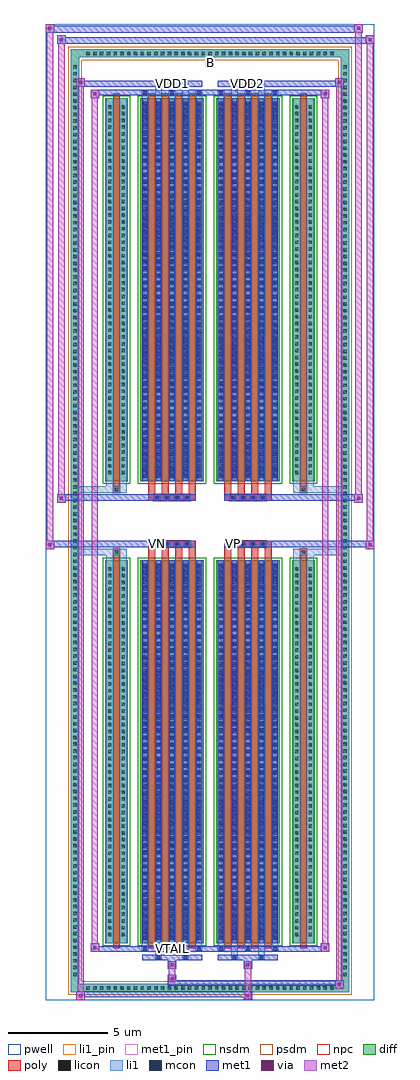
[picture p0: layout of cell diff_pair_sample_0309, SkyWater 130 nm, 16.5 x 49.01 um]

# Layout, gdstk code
import gdstk
lib = gdstk.Library(unit=1e-6, precision=5e-09)
def R(c, l, rs):  # rectangles x0, y0, x1, y1
    for r in rs: c.add(gdstk.rectangle(r[:2], r[2:], *l))
def A(c, l, x, y, w, h, nx, ny, dx, dy):  # array of equal rectangles
    R(c, l, [(x+i*dx, y+j*dy, x+i*dx+w, y+j*dy+h) for i in range(nx) for j in range(ny)])
def P(c, l, *ps):  # polygons
    for p in ps: c.add(gdstk.Polygon(p, *l))
pwell = (64, 44)
diff = (65, 20)
poly = (66, 20)
licon = (66, 44)
li1_pin = (67, 16)
li1 = (67, 20)
mcon = (67, 44)
met1_pin = (68, 16)
met1 = (68, 20)
via = (68, 44)
met2 = (69, 20)
nsdm = (93, 44)
psdm = (94, 20)
npc = (95, 20)

diff_pair_sample_0309 = lib.new_cell('diff_pair_sample_0309')
R(diff_pair_sample_0309, pwell, [(-8.25,-24.07,8.25,24.94), (-5.57,-22.26,-0.01,-0.8), (0.01,-22.26,5.57,-0.8), (-5.57,0.8,-0.01,22.26), (0.01,0.8,5.57,22.26)])
A(diff_pair_sample_0309, diff, -6.325, -23.67, 0.41, 0.41, 37, 2, 0.34, 46.93)
A(diff_pair_sample_0309, diff, -6.98, -22.985, 0.41, 0.41, 1, 135, 0, 0.34)
A(diff_pair_sample_0309, diff, 6.57, -22.985, 0.41, 0.41, 1, 135, 0, 0.34)
R(diff_pair_sample_0309, diff, [(-6.325,-23.67,6.325,-23.26), (-6.98,-22.985,-6.57,22.985), (6.57,-22.985,6.98,22.985), (-5.26,-21.215,-4.13,-1.985), (-3.49,-21.215,-0.32,-1.985), (0.32,-21.215,3.49,-1.985), (4.13,-21.215,5.26,-1.985), (-5.26,1.985,-4.13,21.215), (-3.49,1.985,-0.32,21.215), (0.32,1.985,3.49,21.215), (4.13,1.985,5.26,21.215), (-6.325,23.26,6.325,23.67)])
P(diff_pair_sample_0309, diff, [(6.98,23.67),(-6.98,23.67),(-6.98,-23.26),(-6.57,-23.26),(-6.57,23.26),(6.57,23.26),(6.57,-23.26),(-6.57,-23.26),(-6.98,-23.26),(-6.98,-23.67),(6.98,-23.67)])
A(diff_pair_sample_0309, poly, -3.1, -21.465, 0.35, 19.73, 4, 2, 0.68, 23.2)
A(diff_pair_sample_0309, poly, 0.71, -21.465, 0.35, 19.73, 4, 2, 0.68, 23.2)
A(diff_pair_sample_0309, poly, -3.1, -1.735, 0.35, 0.405, 4, 2, 0.68, 3.065)
A(diff_pair_sample_0309, poly, 0.71, -1.735, 0.35, 0.405, 4, 2, 0.68, 3.065)
A(diff_pair_sample_0309, poly, -2.82, -1.33, 0.33, 0.33, 4, 2, 0.5, 2.33)
A(diff_pair_sample_0309, poly, 0.99, -1.33, 0.33, 0.33, 4, 2, 0.5, 2.33)
R(diff_pair_sample_0309, poly, [(-4.87,-21.465,-4.52,-1.735), (4.52,-21.465,4.87,-1.735), (-4.86,-1.735,-4.53,-1.405), (-4.86,-1.735,-4.53,-1.405), (4.53,-1.735,4.86,-1.405), (4.53,-1.735,4.86,-1.405), (-3.1,-1.33,-0.71,-1), (0.71,-1.33,3.1,-1), (-3.1,1,-0.71,1.33), (0.71,1,3.1,1.33), (-4.86,1.405,-4.53,1.735), (-4.86,1.405,-4.53,1.735), (4.53,1.405,4.86,1.735), (4.53,1.405,4.86,1.735), (-4.87,1.735,-4.52,21.465), (4.52,1.735,4.87,21.465)])
A(diff_pair_sample_0309, licon, -6.205, -23.55, 0.17, 0.17, 37, 2, 0.34, 46.93)
A(diff_pair_sample_0309, licon, -6.86, -22.865, 0.17, 0.17, 1, 135, 0, 0.34)
A(diff_pair_sample_0309, licon, 6.69, -22.865, 0.17, 0.17, 1, 135, 0, 0.34)
A(diff_pair_sample_0309, licon, -5.12, -20.865, 0.17, 0.17, 1, 55, 0, 0.34)
A(diff_pair_sample_0309, licon, -4.44, -20.865, 0.17, 0.17, 1, 55, 0, 0.34)
A(diff_pair_sample_0309, licon, -3.35, -20.865, 0.17, 0.17, 5, 55, 0.68, 0.34)
A(diff_pair_sample_0309, licon, 0.46, -20.865, 0.17, 0.17, 5, 55, 0.68, 0.34)
A(diff_pair_sample_0309, licon, 4.27, -20.865, 0.17, 0.17, 1, 55, 0, 0.34)
A(diff_pair_sample_0309, licon, 4.95, -20.865, 0.17, 0.17, 1, 55, 0, 0.34)
A(diff_pair_sample_0309, licon, -2.74, -1.25, 0.17, 0.17, 4, 2, 0.5, 2.33)
A(diff_pair_sample_0309, licon, 1.07, -1.25, 0.17, 0.17, 4, 2, 0.5, 2.33)
A(diff_pair_sample_0309, licon, -5.12, 2.335, 0.17, 0.17, 1, 55, 0, 0.34)
A(diff_pair_sample_0309, licon, -4.44, 2.335, 0.17, 0.17, 1, 55, 0, 0.34)
A(diff_pair_sample_0309, licon, -3.35, 2.335, 0.17, 0.17, 5, 55, 0.68, 0.34)
A(diff_pair_sample_0309, licon, 0.46, 2.335, 0.17, 0.17, 5, 55, 0.68, 0.34)
A(diff_pair_sample_0309, licon, 4.27, 2.335, 0.17, 0.17, 1, 55, 0, 0.34)
A(diff_pair_sample_0309, licon, 4.95, 2.335, 0.17, 0.17, 1, 55, 0, 0.34)
R(diff_pair_sample_0309, licon, [(-4.78,-1.655,-4.61,-1.485), (4.61,-1.655,4.78,-1.485), (-4.78,1.485,-4.61,1.655), (4.61,1.485,4.78,1.655)])
R(diff_pair_sample_0309, li1_pin, [(-0.25,22.76,0.25,23.26)])
A(diff_pair_sample_0309, li1, -6.285, -23.63, 0.33, 0.33, 37, 2, 0.34, 46.93)
A(diff_pair_sample_0309, li1, -6.94, -22.945, 0.33, 0.33, 1, 135, 0, 0.34)
A(diff_pair_sample_0309, li1, 6.61, -22.945, 0.33, 0.33, 1, 135, 0, 0.34)
A(diff_pair_sample_0309, li1, -3.43, -21.59, 0.33, 0.375, 3, 2, 1.36, 42.805)
A(diff_pair_sample_0309, li1, -3.35, -21.59, 0.17, 0.17, 3, 2, 1.36, 43.01)
A(diff_pair_sample_0309, li1, 0.38, -21.59, 0.33, 0.375, 3, 2, 1.36, 42.805)
A(diff_pair_sample_0309, li1, 0.46, -21.59, 0.17, 0.17, 3, 2, 1.36, 43.01)
A(diff_pair_sample_0309, li1, -3.43, -21.215, 0.33, 19.23, 5, 2, 0.68, 23.2)
A(diff_pair_sample_0309, li1, 0.38, -21.215, 0.33, 19.23, 5, 2, 0.68, 23.2)
A(diff_pair_sample_0309, li1, -3.35, -21.045, 0.17, 0.17, 5, 53, 0.68, 0.36)
A(diff_pair_sample_0309, li1, -3.35, -21.045, 0.17, 18.89, 5, 2, 0.68, 23.2)
A(diff_pair_sample_0309, li1, 0.46, -21.045, 0.17, 0.17, 5, 53, 0.68, 0.36)
A(diff_pair_sample_0309, li1, 0.46, -21.045, 0.17, 18.89, 5, 2, 0.68, 23.2)
A(diff_pair_sample_0309, li1, -5.2, -20.945, 0.33, 0.33, 1, 55, 0, 0.34)
A(diff_pair_sample_0309, li1, -4.52, -20.945, 0.33, 0.33, 1, 55, 0, 0.34)
A(diff_pair_sample_0309, li1, -3.43, -20.945, 0.33, 0.33, 5, 55, 0.68, 0.34)
A(diff_pair_sample_0309, li1, 0.38, -20.945, 0.33, 0.33, 5, 55, 0.68, 0.34)
A(diff_pair_sample_0309, li1, 4.19, -20.945, 0.33, 0.33, 1, 55, 0, 0.34)
A(diff_pair_sample_0309, li1, 4.87, -20.945, 0.33, 0.33, 1, 55, 0, 0.34)
A(diff_pair_sample_0309, li1, -2.82, -1.33, 0.33, 0.33, 4, 2, 0.5, 2.33)
A(diff_pair_sample_0309, li1, 0.99, -1.33, 0.33, 0.33, 4, 2, 0.5, 2.33)
A(diff_pair_sample_0309, li1, -3.35, 2.155, 0.17, 0.17, 5, 53, 0.68, 0.36)
A(diff_pair_sample_0309, li1, 0.46, 2.155, 0.17, 0.17, 5, 53, 0.68, 0.36)
A(diff_pair_sample_0309, li1, -5.2, 2.255, 0.33, 0.33, 1, 55, 0, 0.34)
A(diff_pair_sample_0309, li1, -4.52, 2.255, 0.33, 0.33, 1, 55, 0, 0.34)
A(diff_pair_sample_0309, li1, -3.43, 2.255, 0.33, 0.33, 5, 55, 0.68, 0.34)
A(diff_pair_sample_0309, li1, 0.38, 2.255, 0.33, 0.33, 5, 55, 0.68, 0.34)
A(diff_pair_sample_0309, li1, 4.19, 2.255, 0.33, 0.33, 1, 55, 0, 0.34)
A(diff_pair_sample_0309, li1, 4.87, 2.255, 0.33, 0.33, 1, 55, 0, 0.34)
R(diff_pair_sample_0309, li1, [(-6.98,-23.67,-6.57,-23.26), (-6.98,-23.67,-6.57,-23.26), (-6.57,-23.67,6.57,-23.26), (6.57,-23.67,6.98,-23.26), (6.57,-23.67,6.98,-23.26), (-6.98,-23.26,-6.57,23.26), (6.57,-23.26,6.98,23.26), (-2.75,-22.02,-2.42,-21.215), (-2.67,-22.02,-2.5,-21.85), (-1.39,-22.02,-1.06,-21.215), (-1.31,-22.02,-1.14,-21.85), (1.06,-22.02,1.39,-21.215), (1.14,-22.02,1.31,-21.85), (2.42,-22.02,2.75,-21.215), (2.5,-22.02,2.67,-21.85), (-5.2,-21.215,-4.87,-1.985), (-4.52,-21.215,-4.19,-1.985), (4.19,-21.215,4.52,-1.985), (4.87,-21.215,5.2,-1.985), (-5.2,-1.985,-4.87,-1.405), (-4.52,-1.985,-4.19,-1.405), (4.19,-1.985,4.52,-1.405), (4.87,-1.985,5.2,-1.405), (-6.98,-1.735,-4.86,-1.405), (-5.2,-1.735,-4.86,-1.405), (-4.86,-1.735,-4.53,-1.405), (-4.53,-1.735,-4.19,-1.405), (4.19,-1.735,4.53,-1.405), (4.53,-1.735,4.86,-1.405), (4.53,-1.735,6.98,-1.405), (4.86,-1.735,5.2,-1.405), (-6.98,1.405,-4.86,1.735), (-5.2,1.405,-4.86,1.735), (-5.2,1.405,-4.87,1.985), (-4.86,1.405,-4.53,1.735), (-4.53,1.405,-4.19,1.735), (-4.52,1.405,-4.19,1.985), (4.19,1.405,4.53,1.735), (4.19,1.405,4.52,1.985), (4.53,1.405,4.86,1.735), (4.53,1.405,6.98,1.735), (4.86,1.405,5.2,1.735), (4.87,1.405,5.2,1.985), (-5.2,1.985,-4.87,21.215), (-4.52,1.985,-4.19,21.215), (4.19,1.985,4.52,21.215), (4.87,1.985,5.2,21.215), (-2.75,21.215,-2.42,22.02), (-1.39,21.215,-1.06,22.02), (1.06,21.215,1.39,22.02), (2.42,21.215,2.75,22.02), (-2.67,21.85,-2.5,22.02), (-1.31,21.85,-1.14,22.02), (1.14,21.85,1.31,22.02), (2.5,21.85,2.67,22.02), (-6.98,23.26,-6.57,23.67), (-6.98,23.26,-6.57,23.67), (-6.57,23.26,6.57,23.67), (6.57,23.26,6.98,23.67), (6.57,23.26,6.98,23.67)])
A(diff_pair_sample_0309, mcon, -3.35, -21.59, 0.17, 0.17, 3, 2, 1.36, 43.01)
A(diff_pair_sample_0309, mcon, 0.46, -21.59, 0.17, 0.17, 3, 2, 1.36, 43.01)
A(diff_pair_sample_0309, mcon, -3.35, -21.045, 0.17, 0.17, 5, 53, 0.68, 0.36)
A(diff_pair_sample_0309, mcon, 0.46, -21.045, 0.17, 0.17, 5, 53, 0.68, 0.36)
A(diff_pair_sample_0309, mcon, -2.74, -1.25, 0.17, 0.17, 4, 2, 0.5, 2.33)
A(diff_pair_sample_0309, mcon, 1.07, -1.25, 0.17, 0.17, 4, 2, 0.5, 2.33)
A(diff_pair_sample_0309, mcon, -3.35, 2.155, 0.17, 0.17, 5, 53, 0.68, 0.36)
A(diff_pair_sample_0309, mcon, 0.46, 2.155, 0.17, 0.17, 5, 53, 0.68, 0.36)
R(diff_pair_sample_0309, mcon, [(-2.67,-22.02,-2.5,-21.85), (-1.31,-22.02,-1.14,-21.85), (1.14,-22.02,1.31,-21.85), (2.5,-22.02,2.67,-21.85), (-2.67,21.85,-2.5,22.02), (-1.31,21.85,-1.14,22.02), (1.14,21.85,1.31,22.02), (2.5,21.85,2.67,22.02)])
R(diff_pair_sample_0309, met1_pin, [(-2.04,-21.63,-1.77,-21.36), (-2.79,-1.29,-2.52,-1.02), (1.02,-1.29,1.29,-1.02), (-2.04,21.81,-1.77,22.08), (1.77,21.81,2.04,22.08)])
A(diff_pair_sample_0309, met1, -3.41, -21.65, 0.29, 0.29, 3, 2, 1.36, 43.01)
A(diff_pair_sample_0309, met1, 0.4, -21.65, 0.29, 0.29, 3, 2, 1.36, 43.01)
A(diff_pair_sample_0309, met1, -3.41, -21.215, 0.29, 19.23, 5, 2, 0.68, 23.2)
A(diff_pair_sample_0309, met1, 0.4, -21.215, 0.29, 19.23, 5, 2, 0.68, 23.2)
A(diff_pair_sample_0309, met1, -3.41, -21.105, 0.29, 0.29, 5, 53, 0.68, 0.36)
A(diff_pair_sample_0309, met1, 0.4, -21.105, 0.29, 0.29, 5, 53, 0.68, 0.36)
A(diff_pair_sample_0309, met1, -2.8, -1.31, 0.29, 0.29, 4, 2, 0.5, 2.33)
A(diff_pair_sample_0309, met1, 1.01, -1.31, 0.29, 0.29, 4, 2, 0.5, 2.33)
A(diff_pair_sample_0309, met1, -3.41, 2.095, 0.29, 0.29, 5, 53, 0.68, 0.36)
A(diff_pair_sample_0309, met1, 0.4, 2.095, 0.29, 0.29, 5, 53, 0.68, 0.36)
R(diff_pair_sample_0309, met1, [(-6.71,-24.07,-6.28,-23.64), (1.69,-24.07,2.12,-23.64), (-6.71,-23.93,2.12,-23.64), (6.28,-23.5,6.71,-23.07), (-2.12,-23.36,6.71,-23.07), (-2.12,-23.22,-1.69,-22.79), (-2.12,-22.51,-1.69,-22.08), (1.69,-22.51,2.12,-22.08), (-3.41,-22.08,-0.4,-21.79), (-2.73,-22.08,-2.44,-21.79), (-1.37,-22.08,-1.08,-21.79), (0.4,-22.08,3.41,-21.79), (1.08,-22.08,1.37,-21.79), (2.44,-22.08,2.73,-21.79), (-6,-21.65,-5.57,-21.22), (-6,-21.65,-3.41,-21.36), (-3.41,-21.65,-0.4,-21.36), (-0.4,-21.65,0.4,-21.36), (0.4,-21.65,3.41,-21.36), (3.41,-21.65,6,-21.36), (5.57,-21.65,6,-21.22), (-8.25,-1.43,-7.82,-1), (7.82,-1.43,8.25,-1), (-8.25,-1.33,-0.71,-1), (-3.1,-1.33,-0.71,-1), (0.71,-1.33,3.1,-1), (0.71,-1.33,8.25,-1), (-7.68,0.9,-7.25,1.33), (7.25,0.9,7.68,1.33), (-7.68,1,-3.1,1.33), (-3.1,1,-0.71,1.33), (0.71,1,3.1,1.33), (3.1,1,7.68,1.33), (-6,21.22,-5.57,21.65), (5.57,21.22,6,21.65), (-6,21.36,-3.41,21.65), (-3.41,21.36,-0.4,21.65), (-0.4,21.36,0.4,21.65), (0.4,21.36,3.41,21.65), (3.41,21.36,6,21.65), (-6.71,21.79,-6.28,22.22), (-6.71,21.79,-3.41,22.08), (-3.41,21.79,-0.4,22.08), (-2.73,21.79,-2.44,22.08), (-1.37,21.79,-1.08,22.08), (0.4,21.79,3.41,22.08), (1.08,21.79,1.37,22.08), (2.44,21.79,2.73,22.08), (3.41,21.79,6.71,22.08), (6.28,21.79,6.71,22.22), (-7.68,23.94,-7.25,24.37), (-7.68,23.94,-5.57,24.27), (-5.57,23.94,5.57,24.27), (5.57,23.94,8.25,24.27), (7.82,23.94,8.25,24.37), (-8.25,24.51,-7.82,24.94), (-8.25,24.51,-5.57,24.84), (-5.57,24.51,5.57,24.84), (5.57,24.51,7.68,24.84), (7.25,24.51,7.68,24.94)])
R(diff_pair_sample_0309, via, [(-6.57,-23.93,-6.42,-23.78), (1.83,-23.93,1.98,-23.78), (6.42,-23.36,6.57,-23.21), (-1.98,-23.08,-1.83,-22.93), (-1.98,-22.37,-1.83,-22.22), (1.83,-22.37,1.98,-22.22), (-5.86,-21.51,-5.71,-21.36), (5.71,-21.51,5.86,-21.36), (-8.11,-1.29,-7.96,-1.14), (7.96,-1.29,8.11,-1.14), (-7.54,1.04,-7.39,1.19), (7.39,1.04,7.54,1.19), (-5.86,21.36,-5.71,21.51), (5.71,21.36,5.86,21.51), (-6.57,21.93,-6.42,22.08), (6.42,21.93,6.57,22.08), (-7.54,24.08,-7.39,24.23), (7.96,24.08,8.11,24.23), (-8.11,24.65,-7.96,24.8), (7.39,24.65,7.54,24.8)])
R(diff_pair_sample_0309, met2, [(-6.71,-24.07,-6.28,-23.64), (-6.64,-24.07,-6.35,22.22), (-6.35,-24.07,-6.28,-23.64), (-6.66,-24.02,-6.33,-23.69), (1.74,-24.02,2.07,-23.69), (1.74,-23.69,2.07,-22.46), (6.28,-23.5,6.71,-23.07), (6.35,-23.5,6.64,22.22), (6.64,-23.5,6.71,-23.07), (6.33,-23.45,6.66,-23.12), (-2.07,-23.17,-1.74,-22.84), (-2.07,-22.84,-1.74,-22.46), (-2.07,-22.46,-1.74,-22.13), (1.74,-22.46,2.07,-22.13), (-6,-21.65,-5.57,-21.22), (-5.93,-21.65,-5.64,21.65), (-5.64,-21.65,-5.57,-21.22), (5.57,-21.65,6,-21.22), (5.64,-21.65,5.93,21.65), (5.93,-21.65,6,-21.22), (-5.95,-21.6,-5.62,-21.27), (5.62,-21.6,5.95,-21.27), (-8.25,-1.43,-7.82,-1), (-8.2,-1.43,-7.87,24.94), (-7.87,-1.43,-7.82,-1), (7.82,-1.43,8.25,-1), (7.87,-1.43,8.2,24.37), (8.2,-1.43,8.25,-1), (-8.2,-1.38,-7.87,-1.05), (7.87,-1.38,8.2,-1.05), (-7.68,0.9,-7.25,1.33), (-7.63,0.9,-7.3,24.37), (-7.3,0.9,-7.25,1.33), (7.25,0.9,7.68,1.33), (7.3,0.9,7.63,24.94), (7.63,0.9,7.68,1.33), (-7.63,0.95,-7.3,1.28), (7.3,0.95,7.63,1.28), (-6,21.22,-5.57,21.65), (-5.64,21.22,-5.57,21.65), (5.57,21.22,6,21.65), (5.93,21.22,6,21.65), (-5.95,21.27,-5.62,21.6), (5.62,21.27,5.95,21.6), (-6.71,21.79,-6.28,22.22), (-6.35,21.79,-6.28,22.22), (6.28,21.79,6.71,22.22), (6.64,21.79,6.71,22.22), (-6.66,21.84,-6.33,22.17), (6.33,21.84,6.66,22.17), (-7.68,23.94,-7.25,24.37), (-7.3,23.94,-7.25,24.37), (7.82,23.94,8.25,24.37), (8.2,23.94,8.25,24.37), (-7.63,23.99,-7.3,24.32), (7.87,23.99,8.2,24.32), (-8.25,24.51,-7.82,24.94), (-7.87,24.51,-7.82,24.94), (7.25,24.51,7.68,24.94), (7.63,24.51,7.68,24.94), (-8.2,24.56,-7.87,24.89), (7.3,24.56,7.63,24.89)])
R(diff_pair_sample_0309, nsdm, [(-5.39,-21.345,-4,-1.855), (-3.62,-21.345,-0.19,-1.855), (0.19,-21.345,3.62,-1.855), (4,-21.345,5.39,-1.855), (-5.39,1.855,-4,21.345), (-3.62,1.855,-0.19,21.345), (0.19,1.855,3.62,21.345), (4,1.855,5.39,21.345)])
P(diff_pair_sample_0309, psdm, [(7.11,23.8),(-7.11,23.8),(-7.11,-23.13),(-6.44,-23.13),(-6.44,23.13),(6.44,23.13),(6.44,-23.13),(-6.44,-23.13),(-7.11,-23.13),(-7.11,-23.8),(7.11,-23.8)])
A(diff_pair_sample_0309, npc, -2.84, -1.35, 0.37, 0.37, 4, 2, 0.5, 2.33)
A(diff_pair_sample_0309, npc, 0.97, -1.35, 0.37, 0.37, 4, 2, 0.5, 2.33)
R(diff_pair_sample_0309, npc, [(-4.88,-1.755,-4.51,-1.385), (4.51,-1.755,4.88,-1.385), (-2.84,-1.35,-1.97,-0.98), (-2.84,-1.35,-1.97,-0.98), (-2.34,-1.35,-1.47,-0.98), (-2.34,-1.35,-1.47,-0.98), (-1.84,-1.35,-0.97,-0.98), (-1.84,-1.35,-0.97,-0.98), (0.97,-1.35,1.84,-0.98), (0.97,-1.35,1.84,-0.98), (1.47,-1.35,2.34,-0.98), (1.47,-1.35,2.34,-0.98), (1.97,-1.35,2.84,-0.98), (1.97,-1.35,2.84,-0.98), (-2.84,0.98,-1.97,1.35), (-2.84,0.98,-1.97,1.35), (-2.34,0.98,-1.47,1.35), (-2.34,0.98,-1.47,1.35), (-1.84,0.98,-0.97,1.35), (-1.84,0.98,-0.97,1.35), (0.97,0.98,1.84,1.35), (0.97,0.98,1.84,1.35), (1.47,0.98,2.34,1.35), (1.47,0.98,2.34,1.35), (1.97,0.98,2.84,1.35), (1.97,0.98,2.84,1.35), (-4.88,1.385,-4.51,1.755), (4.51,1.385,4.88,1.755)])
diff_pair_sample_0309.add(gdstk.Label('VTAIL', (-1.905,-21.495), layer=68, texttype=5))
diff_pair_sample_0309.add(gdstk.Label('VN', (-2.655,-1.155), layer=68, texttype=5))
diff_pair_sample_0309.add(gdstk.Label('VP', (1.155,-1.155), layer=68, texttype=5))
diff_pair_sample_0309.add(gdstk.Label('B', (0,23.01), layer=67, texttype=5))
diff_pair_sample_0309.add(gdstk.Label('VDD2', (1.905,21.945), layer=68, texttype=5))
diff_pair_sample_0309.add(gdstk.Label('VDD1', (-1.905,21.945), layer=68, texttype=5))

lib.write_gds('diff_pair_sample_0309.gds')
